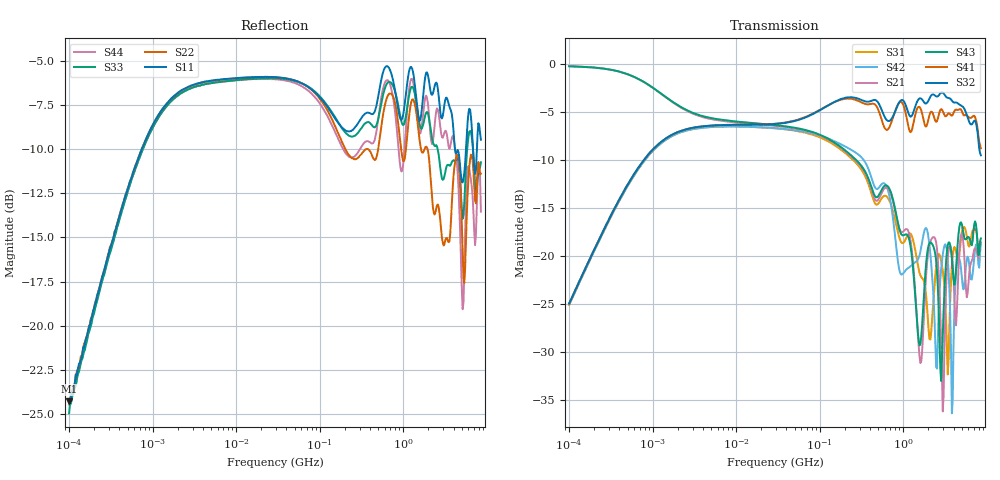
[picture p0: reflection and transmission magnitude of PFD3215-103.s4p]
# MHz S MA R 50
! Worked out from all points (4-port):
!   498 points, 100 kHz to 8.5 GHz, reference 50 ohm
!   strongest paths, dB at 100 kHz, 1.698 MHz, 29.49 MHz, 500.7 MHz, 8.5 GHz:
!     S32: -24.9, -7.4, -6.2, -4.0, -9.5
!     S41: -24.9, -7.4, -6.2, -4.7, -8.8
!     S43: -0.2, -3.9, -6.4, -13.8, -18.1
!     S21: -0.2, -3.9, -6.4, -14.1, -18.6
!     S42: -25.0, -7.5, -6.7, -12.9, -18.5
!     S31: -25.1, -7.5, -6.7, -14.5, -18.7
!   lowest |S11| = -24.3 dB at 100 kHz (marker M1), VSWR 1.13, Z = 52 + j5.92 ohm
!   |S11| at or under -10 dB: start of sweep to 739.9 kHz; 4.167 GHz to 5.641 GHz (1.474 GHz wide, 30.1 % of centre); 6.839 GHz to 7.621 GHz (782 MHz wide, 10.8 % of centre)
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0.1  0.06105 68.3  0.9748 -3.3  0.05573 -98.8  0.05663 81.0
     0.9748 -3.3  0.06029 70.5  0.0568 81.0  0.0562 -99.0
     0.05573 -98.8  0.0568 81.0  0.05644 67.2  0.9745 -3.3
     0.05663 81.0  0.0562 -99.0  0.9745 -3.3  0.0597 69.3
191.855  0.3612 -31.2  0.3581 -110.6  0.3509 73.1  0.6569 -20.8
         0.3581 -110.6  0.3252 -44.1  0.6636 -18.3  0.377 64.9
         0.3509 73.1  0.6636 -18.3  0.3577 -36.2  0.3619 -110.4
         0.6569 -20.8  0.377 64.9  0.3619 -110.4  0.3155 -38.0
1533.002  0.386 141.2  0.03391 98.0  0.08541 -108.5  0.5993 166.8
          0.03391 98.0  0.3511 121.1  0.6574 172.3  0.09829 -116.4
          0.08541 -108.5  0.6574 172.3  0.3845 129.7  0.03607 63.8
          0.5993 166.8  0.09829 -116.4  0.03607 63.8  0.361 139.5
2776.003  0.4033 -17.3  0.05109 16.1  0.09902 105.0  0.5769 13.7
          0.05109 16.1  0.1988 -16.0  0.703 7.5  0.0751 92.8
          0.09902 105.0  0.703 7.5  0.28 -16.9  0.02636 54.2
          0.5769 13.7  0.0751 92.8  0.02636 54.2  0.365 -18.9
4187.455  0.3127 -178.3  0.0473 -124.9  0.1101 -85.4  0.5768 -167.6
          0.0473 -124.9  0.291 -130.4  0.6307 179.7  0.06805 -106.4
          0.1101 -85.4  0.6307 179.7  0.2929 -160.4  0.07474 -89.5
          0.5768 -167.6  0.06805 -106.4  0.07474 -89.5  0.3152 -176.2
5383.342  0.2711 -26.6  0.09911 71.4  0.1418 95.6  0.5397 34.1
          0.09911 71.4  0.1321 39.2  0.5855 20.8  0.07039 68.6
          0.1418 95.6  0.5855 20.8  0.2229 -8.7  0.1244 89.6
          0.5397 34.1  0.07039 68.6  0.1244 89.6  0.1428 -7.9
8500  0.3363 -57.9  0.1178 59.9  0.1156 39.2  0.3645 -12.4
      0.1178 59.9  0.2693 -38.6  0.3349 -23.8  0.1182 27.7
      0.1156 39.2  0.3349 -23.8  0.2902 -50.2  0.1238 50.9
      0.3645 -12.4  0.1182 27.7  0.1238 50.9  0.2103 -65.5
